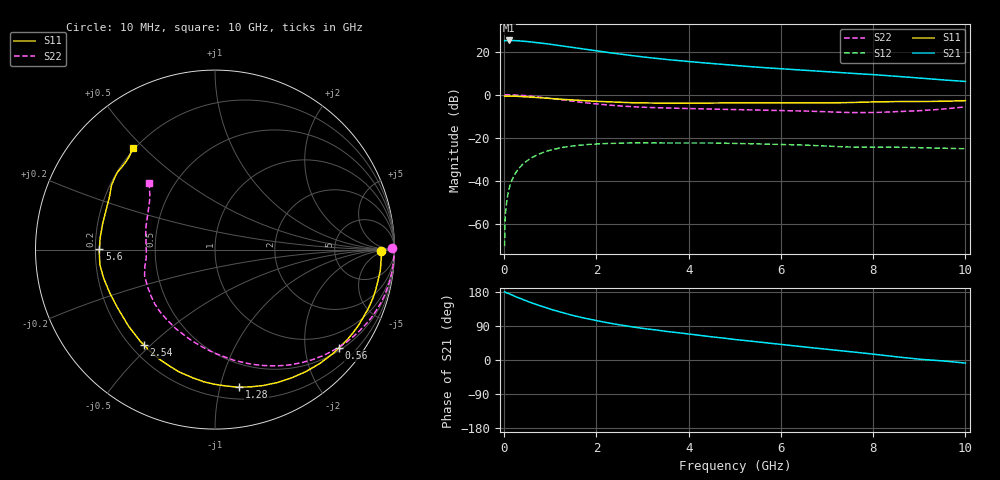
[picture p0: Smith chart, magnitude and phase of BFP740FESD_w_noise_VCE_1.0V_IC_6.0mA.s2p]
! Infineon Technologies  Discrete & RF Semiconductors
! BFP740FESD
! VCE =  1.0 V,  IC =  6.0 mA
! Common Emitter S-Parameters:  Jan 2016
# GHz  S  MA  R  50
!  f  S11  S21  S12  S22
! GHz  MAG  ANG  MAG  ANG  MAG  ANG  MAG  ANG
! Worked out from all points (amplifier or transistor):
!   233 points, 10 MHz to 10 GHz, reference 50 ohm
!   highest |S21| = 25.2 dB at 100 MHz (marker M1)
!   |S21| within 3 dB of that: start of sweep to 1.408 GHz
!   unconditionally stable (mu >= 1): 7.011 GHz to end of sweep
!   at 200 MHz: K = 0.02, MSG = 31.7 dB, |S12| = -38.3 dB
!   at 1.74 GHz: K = 0.22, MSG = 22.2 dB, |S12| = -23.3 dB
!   at 10 GHz: K = 1.50, MAG = 11.5 dB, |S12| = -25.1 dB
!   lowest NFmin = 0.52 dB at 450 MHz
!   S11 on the Smith chart (normalised r, x): 10 MHz: 25, -2; 560 MHz: 0.57, -2.77; 1.28 GHz: 0.30, -1.15; 2.54 GHz: 0.25, -0.47; 5.6 GHz: 0.22, +0.00; 10 GHz: 0.19, +0.46
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0.01  0.9245 -0.4  18.1 179.9  0.0003 64.2  0.9885 0.6
0.02  0.928 -1.6  18.11 179.2  0.0012 90.9  0.9971 -1.0
0.03  0.9277 -2.2  18.11 178.6  0.0018 89.3  0.997 -1.5
0.1  0.9283 -7.0  18.24 175.2  0.0061 85.3  0.9962 -5.2
0.3  0.9145 -21.2  17.93 164.7  0.0181 77.4  0.9767 -15.7
0.56  0.8812 -38.4  16.95 152.4  0.0323 66.8  0.9275 -28.5
0.7  0.8624 -47.4  16.36 146.2  0.0391 61.5  0.8968 -35.0
0.9  0.8321 -59.3  15.39 138.0  0.0476 54.5  0.8472 -43.8
1.1  0.8033 -70.5  14.41 130.6  0.0546 48.1  0.7956 -52.2
1.28  0.7782 -79.9  13.54 124.3  0.0597 42.7  0.7506 -59.3
1.42  0.7587 -86.7  12.86 119.6  0.0629 38.9  0.7168 -64.6
1.68  0.7297 -98.0  11.72 112.1  0.0676 32.7  0.6628 -73.4
2.1  0.6921 -113.1  10.09 101.6  0.0723 24.5  0.5953 -85.9
2.54  0.6627 -126.9  8.735 92.1  0.075 17.5  0.5451 -97.9
2.96  0.6443 -137.6  7.659 84.2  0.0757 12.2  0.5137 -107.4
3.4  0.6331 -146.6  6.791 77.4  0.0758 7.9  0.4945 -114.8
4.5  0.6406 -165.5  5.314 61.2  0.0752 -0.5  0.4635 -131.0
5.1  0.6459 -173.8  4.696 53.0  0.0732 -4.4  0.449 -139.1
5.6  0.6439 179.7  4.281 46.5  0.0714 -7.2  0.437 -145.6
6.8  0.6435 162.7  3.524 30.8  0.0651 -12.4  0.4075 -163.8
8.4  0.6903 143.3  2.734 9.9  0.0601 -11.3  0.3984 165.6
10  0.727 128.8  2.032 -8.1  0.0554 -11.4  0.5205 134.6
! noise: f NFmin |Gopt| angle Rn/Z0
0.45  0.52  0.43  5  0.12
2.4  0.63  0.27  44  0.11
5.5  0.81  0.38  128  0.08
10  1.5  0.42  -139  0.13
